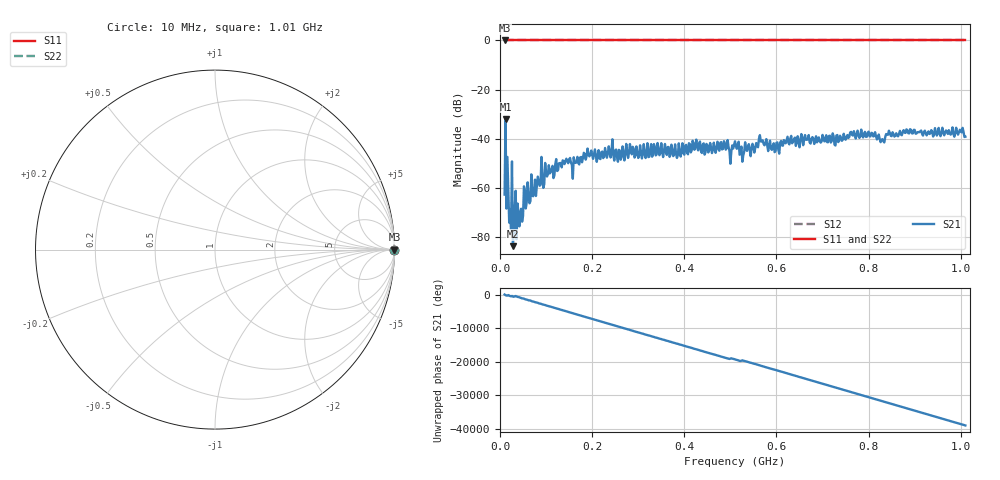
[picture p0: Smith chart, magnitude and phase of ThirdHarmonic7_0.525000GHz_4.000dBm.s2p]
! 8/17/2025 3:31:50 PM
! C:\ANRITSUVNA\TEMP\TEMP.S2P
! CHANNEL.1
! TR.MEASUREMENT
! RAW.DATA
! RF.CORRECTION.OFF
! AVERAGING.OFF
! IF.BANDWIDTH: 5KHZ
! SWEEPTYPE:  FREQ.SWEEP(Linear)
! Reference Plane Port Info
! PORT:  PORT1  PORT2
! DISTANCE:  0  m  0  m
! TIME:  0  s  0  s
! PHASE.OFFSET:  0  deg.  0  deg.
! LOSS:  0  dB  0  dB
! REF.LOSS:  0  dB  0  dB
! REF.FREQ:  0  Hz  0  Hz
! Power Info
! POWER:  -20  dBm  -20  dBm
! EFF.POWER:  -20  dBm  -20  dBm
! SOURCE.ATTEN:  0  dB  0  dB
! TEST.ATTEN:  0  dB  0  dB
# GHZ S RI R 50.0
! FREQ.GHZ  S11RE  S11IM  S21RE  S21IM  S12RE  S12IM  S22RE  S22IM
!; PortSelection: Port_12
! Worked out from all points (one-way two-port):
!   501 points, 10 MHz to 1.01 GHz, reference 50 ohm
!   highest |S21| = -32.01 dB at 12 MHz (marker M1); lowest = -83.9 dB at 28 MHz (marker M2)
!   lowest |S11| = 0.0 dB at 10 MHz (marker M3)
!   |S11| at or under -10 dB: nowhere
!   |S22| runs from 0.0 to 0.0 dB; largest |S21 - S12| = 1
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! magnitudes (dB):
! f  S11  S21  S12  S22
! 10 MHz  0.0  -62.8  0.0  0.0
! 12 MHz  0.0  -32.0  0.0  0.0
! 16 MHz  0.0  -47.5  0.0  0.0
! 18 MHz  0.0  -61.6  0.0  0.0
! 28 MHz  0.0  -83.9  0.0  0.0
! 30 MHz  0.0  -77.5  0.0  0.0
! 32 MHz  0.0  -67.8  0.0  0.0
! 36 MHz  0.0  -81.1  0.0  0.0
! 46 MHz  0.0  -68.6  0.0  0.0
! 56 MHz  0.0  -68.5  0.0  0.0
! 74 MHz  0.0  -60.7  0.0  0.0
! 102 MHz  0.0  -55.5  0.0  0.0
! 178 MHz  0.0  -49.7  0.0  0.0
! 344 MHz  0.0  -44.1  0.0  0.0
! 510 MHz  0.0  -41.1  0.0  0.0
! 524 MHz  0.0  -43.3  0.0  0.0
! 566 MHz  0.0  -41.2  0.0  0.0
! 594 MHz  0.0  -41.9  0.0  0.0
! 678 MHz  0.0  -39.4  0.0  0.0
! 830 MHz  0.0  -40.2  0.0  0.0
! 844 MHz  0.0  -36.8  0.0  0.0
! 1.01 GHz  0.0  -39.2  0.0  0.0
